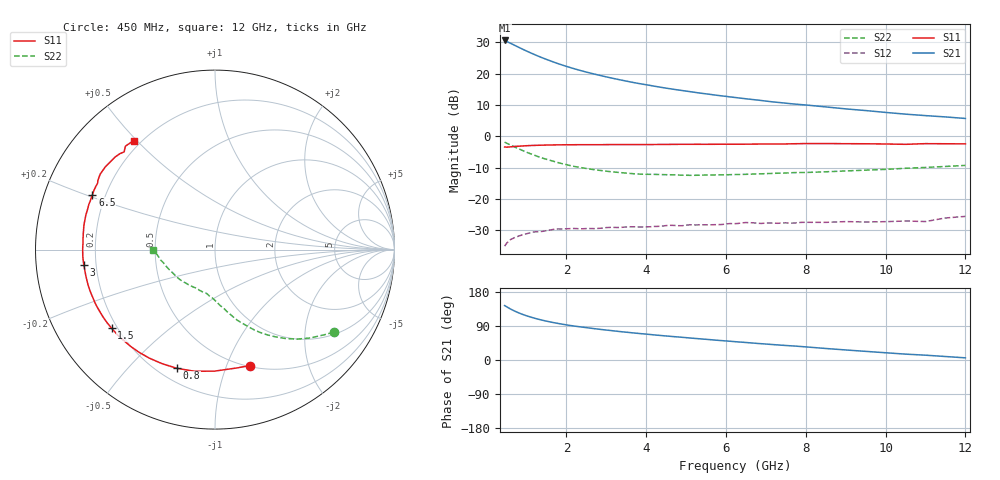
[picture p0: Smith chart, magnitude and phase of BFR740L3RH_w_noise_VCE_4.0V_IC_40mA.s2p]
! (c) 2012  Infineon Technologies AG, Munich
! Infineon Technologies  Discrete & RF Semiconductors
! BFR740L3RH
! VCE =  4.0 V,  IC =  40 mA
! Common Emitter S-Parameters:  May 2012
# GHz  S  MA  R  50
!  f  S11  S21  S12  S22
! GHz  MAG  ANG  MAG  ANG  MAG  ANG  MAG  ANG
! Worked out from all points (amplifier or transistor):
!   85 points, 450 MHz to 12 GHz, reference 50 ohm
!   highest |S21| = 30.5 dB at 450 MHz (marker M1)
!   |S21| within 3 dB of that: start of sweep to 937.4 MHz
!   unconditionally stable (mu >= 1): 5.007 GHz to end of sweep
!   at 1.8 GHz: K = 0.39, MSG = 26.3 dB, |S12| = -29.5 dB
!   at 4.6 GHz: K = 0.92, MSG = 21.8 dB, |S12| = -28.4 dB
!   at 12 GHz: K = 1.97, MAG = 10.0 dB, |S12| = -25.5 dB
!   lowest NFmin = 1.40 dB at 450 MHz
!   S11 on the Smith chart (normalised r, x): 450 MHz: 0.51, -1.21; 800 MHz: 0.27, -0.69; 1.5 GHz: 0.18, -0.33; 3 GHz: 0.15, -0.06; 6.5 GHz: 0.15, +0.21; 12 GHz: 0.17, +0.49
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0.45  0.6747 -73.2  33.65 143.6  0.0177 53.2  0.8054 -34.8
0.6  0.6772 -90.3  30.29 134.4  0.0226 50.5  0.7243 -42.8
0.7  0.6875 -99.7  28.2 129.2  0.0242 46.4  0.6766 -47.5
0.8  0.6946 -107.8  26.23 124.5  0.0256 41.5  0.6322 -51.6
0.9  0.7006 -114.8  24.44 120.4  0.0269 39.1  0.5923 -55.2
1  0.7067 -121.0  22.82 116.7  0.0279 37.2  0.557 -58.5
1.1  0.7116 -126.4  21.37 113.4  0.0291 34.9  0.526 -61.4
1.3  0.7185 -135.6  18.84 107.5  0.03 31.9  0.4715 -66.3
1.5  0.7239 -142.8  16.79 102.5  0.0313 29.5  0.429 -70.6
1.7  0.7279 -148.9  15.05 98.2  0.033 29.0  0.3948 -74.3
1.9  0.7306 -154.3  13.62 94.4  0.0333 27.2  0.3647 -77.4
2.1  0.7315 -158.7  12.42 91.0  0.0337 27.5  0.3404 -80.3
2.4  0.7342 -164.3  10.95 86.7  0.0335 25.1  0.3139 -84.6
3  0.7355 -173.3  8.839 79.0  0.035 23.6  0.2776 -91.2
3.6  0.7371 179.5  7.353 72.3  0.036 25.6  0.2552 -98.5
4.3  0.7393 173.0  6.132 65.3  0.0366 25.1  0.2461 -105.9
5.2  0.7446 165.2  5.031 57.1  0.0386 26.4  0.2386 -116.2
6.3  0.7467 157.4  4.095 47.7  0.0407 26.7  0.2458 -128.6
6.5  0.7476 156.0  3.957 46.2  0.0421 27.2  0.2473 -131.0
8.5  0.7655 143.0  2.935 30.4  0.0424 28.9  0.2712 -152.5
10.5  0.7435 132.9  2.251 15.5  0.0446 34.1  0.3087 -169.2
12  0.7557 126.5  1.921 5.7  0.0528 42.2  0.3429 -179.7
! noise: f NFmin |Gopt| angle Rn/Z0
0.45  1.4  0.19  180  0.12
0.9  1.41  0.2  179  0.12
1.5  1.46  0.25  179  0.1
1.9  1.49  0.27  -179  0.11
2.4  1.55  0.29  -176  0.11
3.5  1.7  0.31  -173  0.11
5.5  2.05  0.35  -163  0.12
8  2.5  0.38  -152  0.19
10  2.86  0.45  -133  0.3
12  3.2  0.49  -121  0.51
